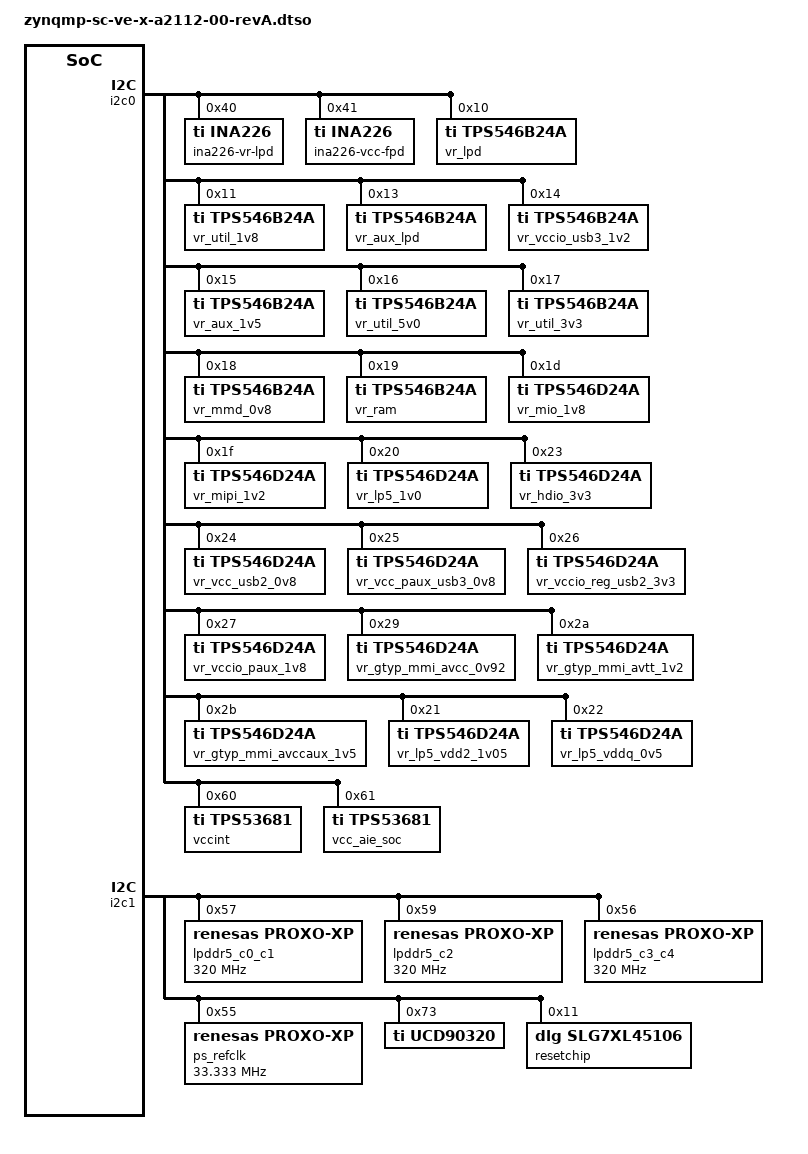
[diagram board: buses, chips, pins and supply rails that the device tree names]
// SPDX-License-Identifier: GPL-2.0
/*
 * dts file for AMD Versal Gen 2 VNC (T50) PCIE
 *
 * (C) Copyright 2025, Advanced Micro Devices, Inc.
 *
 * Michal Simek <michal.simek@amd.com>
 */

#include <dt-bindings/gpio/gpio.h>
#include <dt-bindings/net/ti-dp83867.h>
#include <dt-bindings/phy/phy.h>

/dts-v1/;
/plugin/;

&{/} {
	compatible = "xlnx,zynqmp-sc-ve-x-a2112-00-revA",
		     "xlnx,zynqmp-sc-ve-x-a2112-00", "xlnx,zynqmp";
	model = "ZynqMP SC VE-X-A2112-00 revA";
};

&i2c0 { /* MIO 66/67 */
	status = "okay";
	#address-cells = <1>;
	#size-cells = <0>;
	/* i2c_pmc */
	/* u106 - repeater from SC (J106 - disabling) */

	/* u108/u109 - tca9517 (J110 - disabling) */
	/* ina226_pmbus */
	ina226_vr_lpd: ina226@40 { /* u19 - 0.8V */
		compatible = "ti,ina226";
		#io-channel-cells = <1>;
		label = "ina226-vr-lpd";
		reg = <0x40>;
		shunt-resistor = <5000>; /* R156 */
	};

	ina226_vcc_fpd: ina226@41 { /* u7 - 0.8V */
		compatible = "ti,ina226";
		#io-channel-cells = <1>;
		label = "ina226-vcc-fpd";
		reg = <0x41>;
		shunt-resistor = <1000>; /* R51 */
	};

	/* u113/u114 - tca9517 (J112 - disabling) */
	/* pmbus */
	vr_lpd: regulator@10 { /* u20 */
		compatible = "ti,tps546b24a";
		reg = <0x10>;
	};

	vr_util_1v8: regulator@11 { /* u49 */
		compatible = "ti,tps546b24a";
		reg = <0x11>;
	};

	vr_aux_lpd: regulator@13 { /* u22 */
		compatible = "ti,tps546b24a";
		reg = <0x13>;
	};

	vr_vccio_usb3_1v2: regulator@14 { /* u34 */
		compatible = "ti,tps546b24a";
		reg = <0x14>;
	};

	vr_aux_1v5: regulator@15 { /* u36 */
		compatible = "ti,tps546b24a";
		reg = <0x15>;
	};

	vr_util_5v0: regulator@16 { /* u63 */
		compatible = "ti,tps546b24a";
		reg = <0x16>;
	};

	vr_util_3v3: regulator@17 { /* u61 */
		compatible = "ti,tps546b24a";
		reg = <0x17>;
	};

	vr_mmd_0v8: regulator@18 { /* u38 */
		compatible = "ti,tps546b24a";
		reg = <0x18>;
	};

	vr_ram: regulator@19 { /* u17 */
		compatible = "ti,tps546b24a";
		reg = <0x19>;
	};

	vr_mio_1v8: regulator@1d { /* u18 */
		compatible = "ti,tps546d24a";
		reg = <0x1d>;
	};

	vr_mipi_1v2: regulator@1f { /* u24 */
		compatible = "ti,tps546d24a";
		reg = <0x1f>;
	};

	vr_lp5_1v0: regulator@20 { /* u40 */
		compatible = "ti,tps546d24a";
		reg = <0x20>;
	};

	vr_hdio_3v3: regulator@23 { /* u42 */
		compatible = "ti,tps546d24a";
		reg = <0x23>;
	};

	vr_vcc_usb2_0v8: regulator@24 { /* u26 */
		compatible = "ti,tps546d24a";
		reg = <0x24>;
	};

	vr_vcc_paux_usb3_0v8: regulator@25 { /* u28 */
		compatible = "ti,tps546d24a";
		reg = <0x25>;
	};

	vr_vccio_reg_usb2_3v3: regulator@26 { /* u30 */
		compatible = "ti,tps546d24a";
		reg = <0x26>;
	};

	vr_vccio_paux_1v8: regulator@27 { /* u32 */
		compatible = "ti,tps546d24a";
		reg = <0x27>;
	};

	vr_gtyp_mmi_avcc_0v92: regulator@29 { /* u44 */
		compatible = "ti,tps546d24a";
		reg = <0x29>;
	};

	vr_gtyp_mmi_avtt_1v2: regulator@2a { /* u46 */
		compatible = "ti,tps546d24a";
		reg = <0x2a>;
	};

	vr_gtyp_mmi_avccaux_1v5: regulator@2b { /* u48 */
		compatible = "ti,tps546d24a";
		reg = <0x2b>;
	};

	/* u110/u111 - tca9517 (J111 - disabling) */
	/* ext_pmbus under pmbus */
	vr_lp5_vdd2_1v05: regulator@21 { /* u50 */
		compatible = "ti,tps546d24a";
		reg = <0x21>;
	};

	vr_lp5_vddq_0v5: regulator@22 { /* u51 */
		compatible = "ti,tps546d24a";
		reg = <0x22>;
	};

	vccint: tps53681@60 { /* u2 */
		compatible = "ti,tps53681", "ti,tps53679";
		reg = <0x60>;
	};

	vcc_aie_soc: tps53681@61 { /* u9 */
		compatible = "ti,tps53681", "ti,tps53679";
		reg = <0x61>;
	};
};

&i2c1 { /* MIO24/25 */
	status = "okay";
	#address-cells = <1>;
	#size-cells = <0>;

	/* u94 - repeater from SC (J96 - disabling) */
	/* i2c_main */
	/* EEPROM - already described in sc-k24 DT */

	/* u100 - translator from SC (J101 - disabling) + 0x7 */
	/* i2c_main_1 */
	lpddr5_c0_c1: clock-generator@57 { /* u91 XP or SI570 - oe J83 */
		#clock-cells = <0>;
		compatible = "renesas,proxo-xp";
		reg = <0x57>;
		clock-frequency = <320000000>;
		clock-output-names = "lpddr5_c0_c1";
	};

	/* u102 - translator from SC (J103 - disabling) + 0x9 */
	/* i2c_main_2 */
	lpddr5_c2: clock-generator@59 { /* u92 XP or SI570 - oe J88 */
		#clock-cells = <0>;
		compatible = "renesas,proxo-xp";
		reg = <0x59>;
		clock-frequency = <320000000>;
		clock-output-names = "lpddr5_c2";
	};

	/* u103 - translator from SC (J104 - disabling) + 0x6 */
	/* i2c_main_3 */
	lpddr5_c3_c4: clock-generator@56 { /* u93 XP or SI570 - oe J93 */
		#clock-cells = <0>;
		compatible = "renesas,proxo-xp";
		reg = <0x56>;
		clock-frequency = <320000000>;
		clock-output-names = "lpddr5_c3_c4";
	};

	/* u101 - translator from SC (J102 - disabling) + 0x5 */
	/* i2c_main_4 */
	ps_refclk: clock-generator@55 { /* u90 XP or SI570 - oe J79 */
		#clock-cells = <0>;
		compatible = "renesas,proxo-xp";
		reg = <0x55>;
		clock-frequency = <33333333>;
		clock-output-names = "ps_refclk";
	};

	/* u97 - repeater from SC (J98 - disabling) */
	ucd90320: power-sequencer@73 { /* u74 */
		compatible = "ti,ucd90320";
		reg = <0x73>;
	};

	/* u168 - repeater from SC (J125 - disabling) */
	slg7xl45106: gpio@11 { /* u159 - SLG7XL46528 reset logic */
		compatible = "dlg,slg7xl45106";
		reg = <0x11>;
		label = "resetchip";
		gpio-controller;
		#gpio-cells = <2>;
		gpio-line-names = "USB_PHY_RST_B", "", "", "",
				  "", "", "EEPROM_WC_B", "PS_ETH_RST_B";
	};
};
